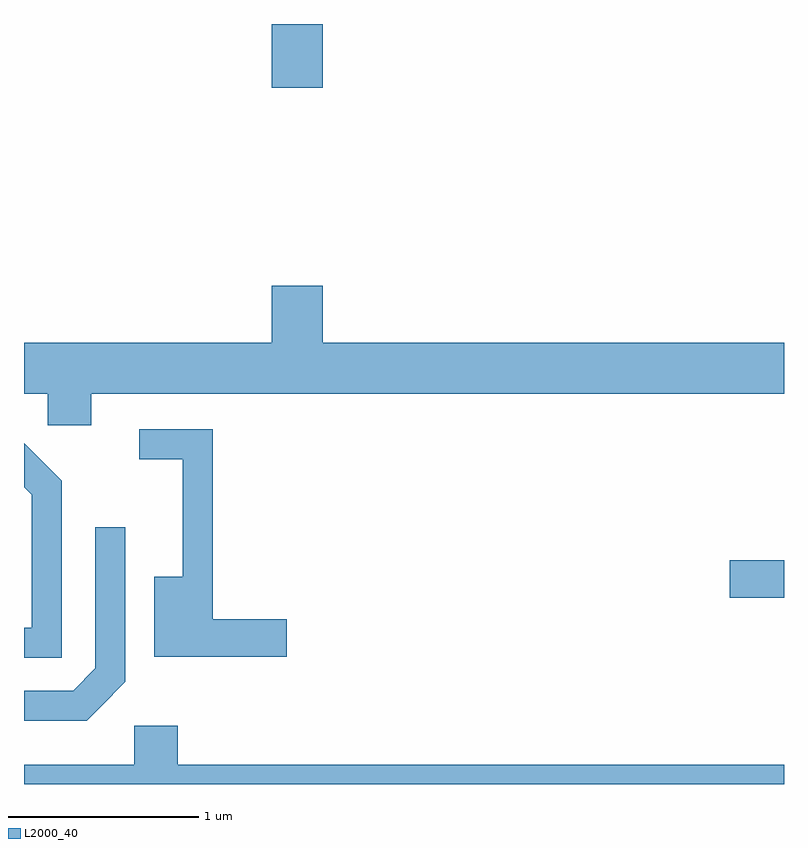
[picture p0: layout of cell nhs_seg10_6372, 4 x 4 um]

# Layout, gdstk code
import gdstk
lib = gdstk.Library(unit=1e-6, precision=1e-09)
def R(c, l, rs):  # rectangles x0, y0, x1, y1
    for r in rs: c.add(gdstk.rectangle(r[:2], r[2:], *l))
def P(c, l, *ps):  # polygons
    for p in ps: c.add(gdstk.Polygon(p, *l))
L2000_40 = (2000, 40)

nhs_seg10_6372 = lib.new_cell('nhs_seg10_6372')
R(nhs_seg10_6372, L2000_40, [(377.326,2119.501,377.611,2119.699), (374.916,2122.186,375.184,2122.522)])
P(nhs_seg10_6372, L2000_40, [(373.964,2120.576),(377.611,2120.576),(377.611,2120.844),(375.184,2120.844),(375.184,2121.144),(374.916,2121.144),(374.916,2120.844),(373.611,2120.844),(373.611,2120.576),(373.736,2120.576),(373.736,2120.411),(373.964,2120.411)],
  [(374.994,2119.389),(374.604,2119.389),(374.604,2120.389),(374.218,2120.389),(374.218,2120.231),(374.446,2120.231),(374.446,2119.614),(374.296,2119.614),(374.296,2119.191),(374.994,2119.191)],
  [(373.809,2120.117),(373.611,2120.315),(373.611,2120.084),(373.651,2120.044),(373.651,2119.344),(373.611,2119.344),(373.611,2119.186),(373.809,2119.186)],
  [(374.013,2118.927),(374.144,2119.059),(374.144,2119.873),(373.986,2119.873),(373.986,2119.132),(373.869,2119.014),(373.611,2119.014),(373.611,2118.856),(373.942,2118.856)],
  [(377.611,2118.624),(374.419,2118.624),(374.419,2118.829),(374.191,2118.829),(374.191,2118.624),(373.611,2118.624),(373.611,2118.522),(377.611,2118.522)])

lib.write_gds('nhs_seg10_6372.gds')
